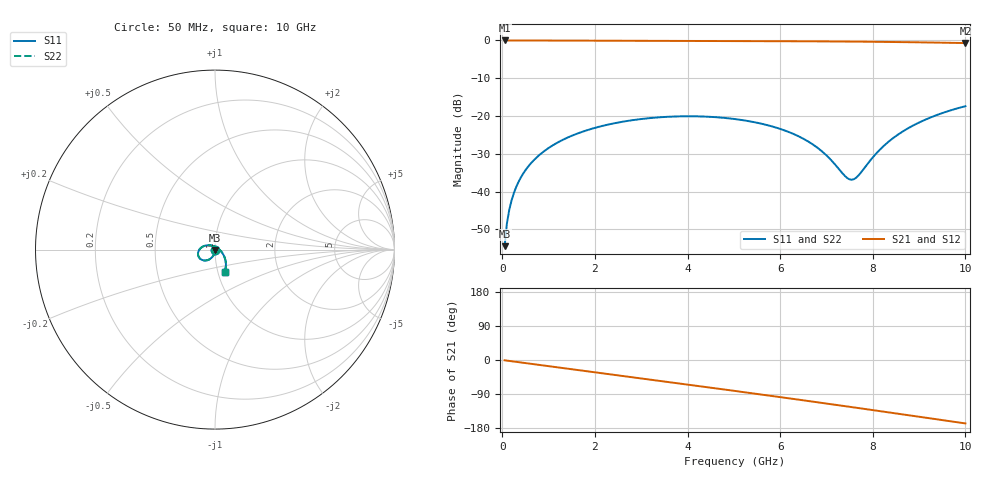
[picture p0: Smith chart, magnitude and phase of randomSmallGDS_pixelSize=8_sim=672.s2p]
! freq	dB(S11)	phase(S11)	dB(S12)	phase(S12)
!  dB(S21)	phase(S21)	dB(S22)	phase(S22)
!S-par simulation data
#  GHz  S  DB  R 50
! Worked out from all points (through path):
!   200 points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, 50 MHz to 10 GHz, reference 50 ohm
!   highest |S21| = 0.00 dB at 50 MHz (marker M1); lowest = -0.7 dB at 10 GHz (marker M2)
!   group delay of S21, straight-line fit = 46.3 ps
!   lowest |S11| = -54.4 dB at 50 MHz (marker M3), VSWR 1.00, Z = 50 - j0.19 ohm
!   |S11| at or under -10 dB: start of sweep to end of sweep
!   |S22| runs from -54.4 to -17.4 dB; largest |S21 - S12| = 0
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0.05  -54.42 -90.5  -0.00 -0.8  -0.00 -0.8  -54.42 -90.5
0.1  -48.38 -91.9  -0.00 -1.6  -0.00 -1.6  -48.38 -91.9
0.15  -44.84 -93.0  -0.00 -2.5  -0.00 -2.5  -44.84 -93.0
0.2  -42.32 -93.9  -0.00 -3.3  -0.00 -3.3  -42.32 -93.9
0.35  -37.42 -96.6  -0.00 -5.7  -0.00 -5.7  -37.42 -96.6
0.5  -34.32 -99.1  -0.01 -8.2  -0.01 -8.2  -34.32 -99.1
0.7  -31.44 -102.4  -0.01 -11.4  -0.01 -11.4  -31.44 -102.4
1  -28.45 -107.3  -0.02 -16.3  -0.02 -16.3  -28.45 -107.3
1.75  -24.06 -119.8  -0.05 -28.4  -0.05 -28.4  -24.06 -119.8
2.5  -21.71 -132.2  -0.07 -40.5  -0.07 -40.5  -21.71 -132.2
3.4  -20.32 -147.2  -0.10 -55.1  -0.10 -55.1  -20.32 -147.1
5.05  -20.83 -176.2  -0.16 -82.1  -0.16 -82.1  -20.83 -176.2
6  -23.39 164.4  -0.19 -97.9  -0.19 -97.9  -23.40 164.5
6.7  -27.46 144.8  -0.23 -109.7  -0.23 -109.7  -27.47 145.0
7.05  -31.00 128.0  -0.25 -115.7  -0.25 -115.7  -31.02 128.2
7.4  -35.87 89.3  -0.28 -121.8  -0.28 -121.8  -35.93 89.6
7.55  -36.84 58.4  -0.30 -124.4  -0.30 -124.4  -36.93 58.4
7.7  -35.60 27.5  -0.31 -127.0  -0.31 -127.0  -35.67 27.3
8.05  -30.23 -10.8  -0.35 -133.1  -0.35 -133.1  -30.25 -11.0
8.35  -26.69 -25.8  -0.39 -138.3  -0.39 -138.3  -26.70 -25.9
9.05  -21.42 -46.3  -0.50 -150.6  -0.50 -150.6  -21.42 -46.5
10  -17.39 -66.3  -0.69 -167.4  -0.69 -167.4  -17.39 -66.4
